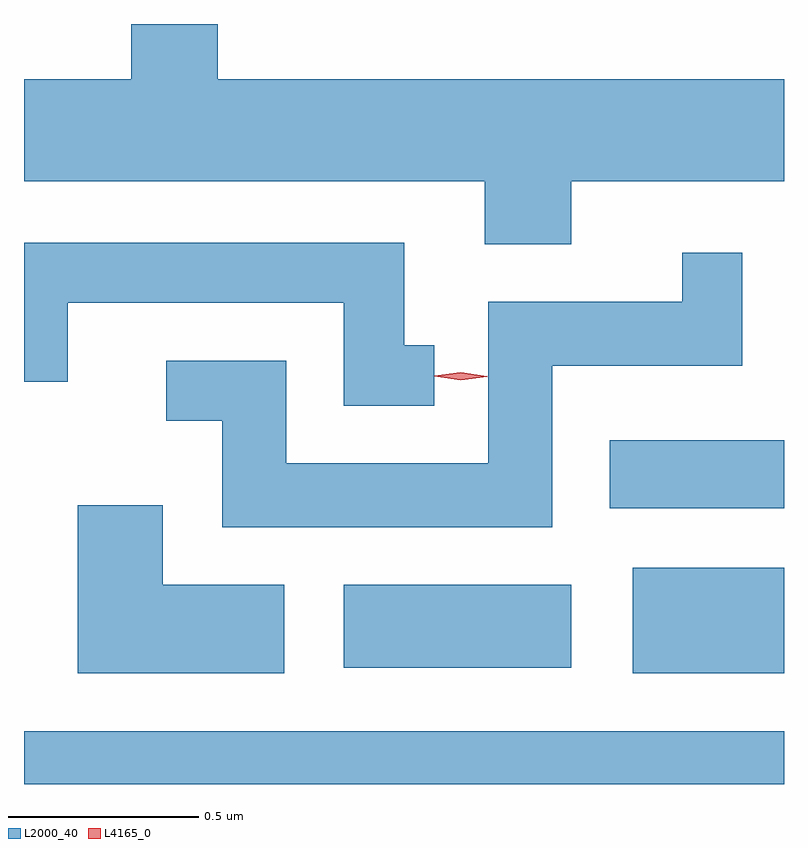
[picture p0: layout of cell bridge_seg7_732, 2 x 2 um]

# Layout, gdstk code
import gdstk
lib = gdstk.Library(unit=1e-6, precision=1e-09)
def R(c, l, rs):  # rectangles x0, y0, x1, y1
    for r in rs: c.add(gdstk.rectangle(r[:2], r[2:], *l))
def P(c, l, *ps):  # polygons
    for p in ps: c.add(gdstk.Polygon(p, *l))
L2000_40 = (2000, 40)
L4165_0 = (4165, 0)

bridge_seg7_732 = lib.new_cell('bridge_seg7_732')
R(bridge_seg7_732, L2000_40, [(884.169,1717.17,886.169,1717.309), (885.771,1717.461,886.169,1717.739), (885.011,1717.476,885.609,1717.694), (885.711,1717.896,886.169,1718.074)])
P(bridge_seg7_732, L2000_40, [(885.609,1718.756),(886.169,1718.756),(886.169,1719.024),(884.679,1719.024),(884.679,1719.17),(884.451,1719.17),(884.451,1719.024),(884.169,1719.024),(884.169,1718.756),(885.381,1718.756),(885.381,1718.591),(885.609,1718.591)],
  [(885.248,1718.324),(885.169,1718.324),(885.169,1718.594),(884.169,1718.594),(884.169,1718.228),(884.284,1718.228),(884.284,1718.436),(885.011,1718.436),(885.011,1718.166),(885.248,1718.166)],
  [(885.559,1718.271),(886.059,1718.271),(886.059,1718.568),(885.901,1718.568),(885.901,1718.439),(885.391,1718.439),(885.391,1718.014),(884.859,1718.014),(884.859,1718.284),(884.543,1718.284),(884.543,1718.126),(884.691,1718.126),(884.691,1717.846),(885.559,1717.846)],
  [(884.854,1717.694),(884.534,1717.694),(884.534,1717.904),(884.311,1717.904),(884.311,1717.461),(884.854,1717.461)])
P(bridge_seg7_732, L4165_0, [(885.318,1718.233),(885.249,1718.243),(885.249,1718.243),(885.249,1718.244),(885.318,1718.253),(885.388,1718.243),(885.388,1718.243),(885.388,1718.242)])

lib.write_gds('bridge_seg7_732.gds')
